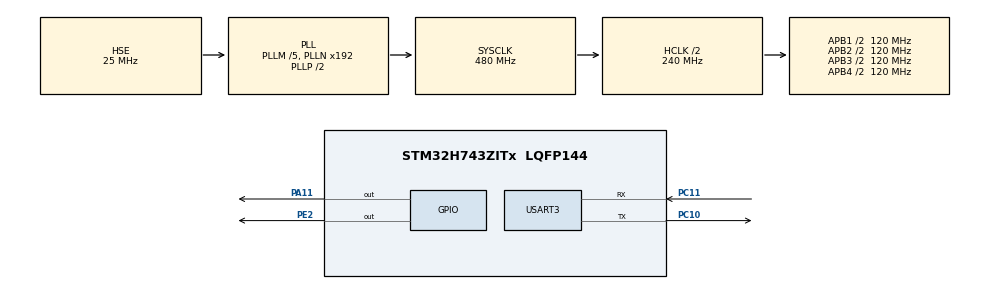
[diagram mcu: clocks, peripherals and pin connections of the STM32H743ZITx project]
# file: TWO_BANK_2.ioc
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CORTEX_M7.AccessPermission_S-Cortex_Memory_Protection_Unit_Region1_Settings_S=MPU_REGION_PRIV_RO
CORTEX_M7.AccessPermission_S-Cortex_Memory_Protection_Unit_Region2_Settings_S=MPU_REGION_FULL_ACCESS
CORTEX_M7.BaseAddress_S-Cortex_Memory_Protection_Unit_Region1_Settings_S=0x08000000
CORTEX_M7.BaseAddress_S-Cortex_Memory_Protection_Unit_Region2_Settings_S=0x30040000
CORTEX_M7.DisableExec_S-Cortex_Memory_Protection_Unit_Region2_Settings_S=MPU_INSTRUCTION_ACCESS_DISABLE
CORTEX_M7.Enable_S-Cortex_Memory_Protection_Unit_Region1_Settings_S=MPU_REGION_ENABLE
CORTEX_M7.Enable_S-Cortex_Memory_Protection_Unit_Region2_Settings_S=MPU_REGION_ENABLE
CORTEX_M7.IsCacheable_S-Cortex_Memory_Protection_Unit_Region1_Settings_S=MPU_ACCESS_CACHEABLE
CORTEX_M7.IsShareable_S-Cortex_Memory_Protection_Unit_Region2_Settings_S=MPU_ACCESS_SHAREABLE
CORTEX_M7.Number_S-Cortex_Memory_Protection_Unit_Region2_Settings_S=MPU_REGION_NUMBER2
CORTEX_M7.Size_S-Cortex_Memory_Protection_Unit_Region1_Settings_S=MPU_REGION_SIZE_2MB
CORTEX_M7.Size_S-Cortex_Memory_Protection_Unit_Region2_Settings_S=MPU_REGION_SIZE_32KB
CORTEX_M7.TypeExtField_S-Cortex_Memory_Protection_Unit_Region1_Settings_S=MPU_TEX_LEVEL1
CORTEX_M7.TypeExtField_S-Cortex_Memory_Protection_Unit_Region2_Settings_S=MPU_TEX_LEVEL1
CORTEX_M7.default_mode_Activation=1
Mcu.Family=STM32H7
Mcu.Name=STM32H743ZITx
Mcu.Package=LQFP144
NVIC.PriorityGroup=NVIC_PRIORITYGROUP_4
PA11.Signal=GPIO_Output
PA13\ (JTMS/SWDIO).Mode=Serial_Wire
PA13\ (JTMS/SWDIO).Signal=DEBUG_JTMS-SWDIO
PA14\ (JTCK/SWCLK).Mode=Serial_Wire
PA14\ (JTCK/SWCLK).Signal=DEBUG_JTCK-SWCLK
PC10.Mode=Asynchronous
PC10.Signal=USART3_TX
PC11.Mode=Asynchronous
PC11.Signal=USART3_RX
PE2.Signal=GPIO_Output
PH0-OSC_IN\ (PH0).Mode=HSE-External-Oscillator
PH0-OSC_IN\ (PH0).Signal=RCC_OSC_IN
PH1-OSC_OUT\ (PH1).Mode=HSE-External-Oscillator
PH1-OSC_OUT\ (PH1).Signal=RCC_OSC_OUT
ProjectManager.HeapSize=0x200
ProjectManager.StackSize=0x400
ProjectManager.TargetToolchain=MDK-ARM V5.32
RCC.ADCFreq_Value=50390625
RCC.APB1Freq_Value=120000000
RCC.APB2Freq_Value=120000000
RCC.APB3Freq_Value=120000000
RCC.APB4Freq_Value=120000000
RCC.CortexFreq_Value=480000000
RCC.D1PPRE=RCC_APB3_DIV2
RCC.D2PPRE1=RCC_APB1_DIV2
RCC.D2PPRE2=RCC_APB2_DIV2
RCC.D3PPRE=RCC_APB4_DIV2
RCC.DIVM1=5
RCC.DIVN1=192
RCC.HCLKFreq_Value=240000000
RCC.HPRE=RCC_HCLK_DIV2
RCC.PLLFRACN=0
RCC.PLLSourceVirtual=RCC_PLLSOURCE_HSE
RCC.SYSCLKFreq_VALUE=480000000
RCC.SYSCLKSource=RCC_SYSCLKSOURCE_PLLCLK
RCC.USBFreq_Value=480000000
USART3.VirtualMode-Asynchronous=VM_ASYNC
VP_MEMORYMAP_VS_MEMORYMAP.Mode=CurAppReg
board=custom

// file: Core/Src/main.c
/* USER CODE BEGIN Header */
/**
  ******************************************************************************
  * @file           : main.c
  * @brief          : Main program body
  ******************************************************************************
  * @attention
  *
  * Copyright (c) 2026 STMicroelectronics.
  * All rights reserved.
  *
  * This software is licensed under terms that can be found in the LICENSE file
  * in the root directory of this software component.
  * If no LICENSE file comes with this software, and is provided AS-IS.
  *
  ******************************************************************************
  */
/* USER CODE END Header */
#include "main.h"
#include "usart.h"
#include "gpio.h"

/* USER CODE BEGIN Includes */
#include <stddef.h>
#include <stdint.h>
#include <stdio.h>
#include <string.h>
/* USER CODE END Includes */

/* USER CODE BEGIN PTD */
/** OTA元数据结构体 */
typedef struct
{
  uint32_t magic;
  uint32_t struct_version;
  uint32_t sequence;
  uint32_t active_slot;
  uint32_t switch_slot;
  uint32_t upgrade_flag;
  uint32_t last_error;
  uint32_t app1_size;
  uint32_t app1_crc32;
  uint32_t app1_version;
  uint32_t app1_valid;
  uint32_t app2_size;
  uint32_t app2_crc32;
  uint32_t app2_version;
  uint32_t app2_valid;
  uint32_t reserved[8];
  uint32_t record_crc32;
} App_OtaMetadataTypeDef;

/** 应用控制协议帧头结构体 */
typedef struct
{
  uint32_t magic;
  uint16_t command;
  uint16_t length;
  uint32_t sequence;
  uint32_t payload_crc32;
} App_ControlFrameHeaderTypeDef;

/** 应用控制协议响应载荷结构体 */
typedef struct
{
  uint32_t status;
  uint32_t value0;
  uint32_t value1;
  uint32_t value2;
} App_ControlResponsePayloadTypeDef;

/** 进入OTA模式命令载荷结构体 */
typedef struct
{
  uint32_t target_slot;
  uint32_t image_size;
  uint32_t image_crc32;
  uint32_t image_version;
} App_ControlEnterOtaPayloadTypeDef;
/* USER CODE END PTD */

/* USER CODE BEGIN PD */
/** APP2镜像起始地址 */
#define APP_FLASH_BASE                       0x08100000U
/** APP2镜像大小 */
#define APP_FLASH_SIZE                       0x000E0000U
/** APP1镜像起始地址 */
#define APP_PEER_FLASH_BASE                  0x08020000U
/** APP1镜像大小 */
#define APP_PEER_FLASH_SIZE                  0x000E0000U
/** OTA元数据区起始地址 */
#define APP_METADATA_ADDRESS                 0x081E0000U
/** OTA元数据魔术字 */
#define APP_METADATA_MAGIC                   0x4F54414DU
/** OTA元数据版本号 */
#define APP_METADATA_VERSION                 0x00010000U
/** APP2槽位编号 */
#define APP_SLOT_THIS                        2U
/** APP1槽位编号 */
#define APP_SLOT_PEER                        1U
/** 空槽位编号 */
#define APP_SLOT_NONE                        0U
/** 升级标志空闲值 */
#define APP_UPGRADE_FLAG_IDLE                0U
/** 升级标志请求值 */
#define APP_UPGRADE_FLAG_REQUEST             1U
/** 元数据所在Bank */
#define APP_METADATA_BANK                    FLASH_BANK_2
/** 元数据所在Sector */
#define APP_METADATA_SECTOR                  FLASH_SECTOR_7
/** Flash写入最小单位 */
#define APP_FLASH_PROGRAM_UNIT               32U
/** 串口文本命令缓冲长度 */
#define APP_CMD_BUFFER_LENGTH                64U
/** 应用控制协议魔术字 */
#define APP_PROTOCOL_MAGIC                   0x3141544FU
/** 应用控制协议魔术字字节串 */
#define APP_PROTOCOL_MAGIC_BYTES             "OTA1"
/** 应用控制协议头长度 */
#define APP_PROTOCOL_HEADER_SIZE             16U
/** 应用控制协议最大载荷长度 */
#define APP_PROTOCOL_MAX_PAYLOAD             32U
/** 应用控制协议命令：HELLO */
#define APP_CTRL_CMD_HELLO                   0x0101U
/** 应用控制协议命令：QUERY */
#define APP_CTRL_CMD_QUERY                   0x0102U
/** 应用控制协议命令：ENTER_OTA */
#define APP_CTRL_CMD_ENTER_OTA               0x0103U
/** 应用控制协议命令：REBOOT */
#define APP_CTRL_CMD_REBOOT                  0x0104U
/** 应用控制协议响应掩码 */
#define APP_CTRL_RESPONSE_MASK               0x8000U
/** 应用控制协议状态：成功 */
#define APP_CTRL_STATUS_OK                   0x00000000U
/** 应用控制协议状态：CRC错误 */
#define APP_CTRL_STATUS_CRC_ERROR            0x00000003U
/** 应用控制协议状态：状态错误 */
#define APP_CTRL_STATUS_STATE_ERROR          0x00000004U
/** 应用控制协议状态：槽位错误 */
#define APP_CTRL_STATUS_SLOT_ERROR           0x00000005U
/** 应用控制协议状态：Flash错误 */
#define APP_CTRL_STATUS_FLASH_ERROR          0x00000007U
/** 应用控制协议状态：参数错误 */
#define APP_CTRL_STATUS_ARGUMENT_ERROR       0x00000009U
/** 设备模式编码：APP2 */
#define APP_DEVICE_MODE_THIS                 3U
/** 应用LED翻转周期 */
#define APP_LED_TOGGLE_PERIOD_MS             500U
/* USER CODE END PD */

/* USER CODE BEGIN PV */
/** 文本命令接收缓冲区 */
static char g_app_command_buffer[APP_CMD_BUFFER_LENGTH];
/** 文本命令当前长度 */
static uint32_t g_app_command_length = 0U;
/** LED上一次翻转时刻 */
static uint32_t g_app_led_tick = 0U;
/** 协议帧接收缓冲区 */
static uint8_t g_app_protocol_buffer[APP_PROTOCOL_HEADER_SIZE + APP_PROTOCOL_MAX_PAYLOAD];
/** 协议帧当前已接收长度 */
static uint32_t g_app_protocol_length = 0U;
/** 协议帧期望总长度 */
static uint32_t g_app_protocol_expected_length = 0U;
/* USER CODE END PV */

void SystemClock_Config(void);
static void MPU_Config(void);
/* USER CODE BEGIN PFP */
/** 输出一行应用日志 */
static void App_Log(const char *text);
/** 输出十六进制数值日志 */
static void App_LogHexValue(const char *label, uint32_t value);
/** 计算CRC32数值 */
static uint32_t App_CalculateCrc32(const uint8_t *buffer, uint32_t length);
/** 检查栈顶地址是否合法 */
static uint32_t App_IsValidStackPointer(uint32_t stack_pointer);
/** 检查镜像向量表是否合法 */
static uint32_t App_IsApplicationValid(uint32_t app_address, uint32_t app_size);
/** 从Flash读取元数据 */
static uint32_t App_LoadMetadata(App_OtaMetadataTypeDef *metadata);
/** 生成应用侧默认元数据视图 */
static void App_CreateDefaultMetadata(App_OtaMetadataTypeDef *metadata);
/** 擦除元数据扇区 */
static HAL_StatusTypeDef App_EraseMetadataSector(void);
/** 向Flash写入任意长度数据 */
static HAL_StatusTypeDef App_WriteFlashBuffer(uint32_t address, const uint8_t *buffer, uint32_t length);
/** 将元数据保存到Flash */
static HAL_StatusTypeDef App_SaveMetadata(App_OtaMetadataTypeDef *metadata);
/** 获取当前设备模式编码 */
static uint32_t App_GetDeviceMode(void);
/** 打包当前设备状态 */
static void App_PackDeviceState(uint32_t *value0, uint32_t *value1, uint32_t *value2);
/** 发送协议响应帧 */
static void App_SendControlResponse(uint16_t command, uint32_t status, uint32_t value0, uint32_t value1, uint32_t value2);
/** 重置协议接收状态机 */
static void App_ResetProtocolParser(void);
/** 处理协议帧 */
static void App_HandleProtocolFrame(const uint8_t *frame, uint32_t frame_length);
/** 按字节处理文本命令 */
static void App_ProcessTextByte(uint8_t rx_byte);
/** 按字节处理串口输入 */
static void App_ProcessRxByte(uint8_t rx_byte);
/** 轮询串口输入数据 */
static void App_PollSerialInput(void);
/** 处理文本命令 */
static void App_ProcessSerialCommand(const char *command);
/** 写入升级请求标志 */
static HAL_StatusTypeDef App_RequestOtaFlag(uint32_t target_slot);
/** 打印当前应用信息 */
static void App_PrintInfo(void);
/* USER CODE END PFP */

/* USER CODE BEGIN 0 */
/** 输出一行应用日志 */
static void App_Log(const char *text)
{
  size_t length = strlen(text);

  (void)HAL_UART_Transmit(&huart3, (uint8_t *)text, (uint16_t)length, HAL_MAX_DELAY);
}

/** 输出十六进制数值日志 */
static void App_LogHexValue(const char *label, uint32_t value)
{
  char text[96];

  (void)snprintf(text, sizeof(text), "%s0x%08lX\r\n", label, (unsigned long)value);
  App_Log(text);
}

/** 计算CRC32数值 */
static uint32_t App_CalculateCrc32(const uint8_t *buffer, uint32_t length)
{
  uint32_t crc = 0xFFFFFFFFU;
  uint32_t index;
  uint32_t bit_index;

  if (buffer == NULL)
  {
    return 0U;
  }

  for (index = 0U; index < length; index++)
  {
    crc ^= buffer[index];
    for (bit_index = 0U; bit_index < 8U; bit_index++)
    {
      if ((crc & 1U) != 0U)
      {
        crc = (crc >> 1U) ^ 0xEDB88320U;
      }
      else
      {
        crc >>= 1U;
      }
    }
  }

  return ~crc;
}

/** 检查栈顶地址是否合法 */
static uint32_t App_IsValidStackPointer(uint32_t stack_pointer)
{
  if ((stack_pointer >= 0x20000000U) && (stack_pointer < 0x20020000U))
  {
    return 1U;
  }

  if ((stack_pointer >= 0x24000000U) && (stack_pointer < 0x24080000U))
  {
    return 1U;
  }

  if ((stack_pointer >= 0x30000000U) && (stack_pointer < 0x30048000U))
  {
    return 1U;
  }

  if ((stack_pointer >= 0x38000000U) && (stack_pointer < 0x38010000U))
  {
    return 1U;
  }

  return 0U;
}

/** 检查镜像向量表是否合法 */
static uint32_t App_IsApplicationValid(uint32_t app_address, uint32_t app_size)
{
  uint32_t stack_pointer = *((volatile uint32_t *)app_address);
  uint32_t reset_handler = *((volatile uint32_t *)(app_address + 4U));
  uint32_t reset_handler_address = reset_handler & ~1U;

  if (App_IsValidStackPointer(stack_pointer) == 0U)
  {
    return 0U;
  }

  if ((reset_handler & 1U) == 0U)
  {
    return 0U;
  }

  if ((reset_handler_address < app_address) || (reset_handler_address >= (app_address + app_size)))
  {
    return 0U;
  }

  return 1U;
}

/** 从Flash读取元数据 */
static uint32_t App_LoadMetadata(App_OtaMetadataTypeDef *metadata)
{
  const App_OtaMetadataTypeDef *flash_metadata = (const App_OtaMetadataTypeDef *)APP_METADATA_ADDRESS;
  uint32_t crc32;

  if (metadata == NULL)
  {
    return 0U;
  }

  memcpy(metadata, flash_metadata, sizeof(App_OtaMetadataTypeDef));
  if (metadata->magic != APP_METADATA_MAGIC)
  {
    return 0U;
  }

  if (metadata->struct_version != APP_METADATA_VERSION)
  {
    return 0U;
  }

  crc32 = App_CalculateCrc32((const uint8_t *)metadata, offsetof(App_OtaMetadataTypeDef, record_crc32));
  if (metadata->record_crc32 != crc32)
  {
    return 0U;
  }

  return 1U;
}

/** 生成应用侧默认元数据视图 */
static void App_CreateDefaultMetadata(App_OtaMetadataTypeDef *metadata)
{
  if (metadata == NULL)
  {
    return;
  }

  memset(metadata, 0, sizeof(App_OtaMetadataTypeDef));
  metadata->magic = APP_METADATA_MAGIC;
  metadata->struct_version = APP_METADATA_VERSION;
  metadata->sequence = 1U;
  metadata->active_slot = APP_SLOT_THIS;
  metadata->switch_slot = APP_SLOT_NONE;
  metadata->upgrade_flag = APP_UPGRADE_FLAG_IDLE;
  metadata->last_error = 0U;
  metadata->app1_valid = App_IsApplicationValid(APP_PEER_FLASH_BASE, APP_PEER_FLASH_SIZE);
  metadata->app2_valid = App_IsApplicationValid(APP_FLASH_BASE, APP_FLASH_SIZE);
  metadata->record_crc32 = App_CalculateCrc32((const uint8_t *)metadata, offsetof(App_OtaMetadataTypeDef, record_crc32));
}

/** 擦除元数据扇区 */
static HAL_StatusTypeDef App_EraseMetadataSector(void)
{
  FLASH_EraseInitTypeDef erase_init = {0};
  uint32_t sector_error = 0U;
  HAL_StatusTypeDef status;

  erase_init.TypeErase = FLASH_TYPEERASE_SECTORS;
  erase_init.Banks = APP_METADATA_BANK;
  erase_init.Sector = APP_METADATA_SECTOR;
  erase_init.NbSectors = 1U;
  erase_init.VoltageRange = FLASH_VOLTAGE_RANGE_3;

  HAL_FLASH_Unlock();
  __HAL_FLASH_CLEAR_FLAG(FLASH_FLAG_ALL_ERRORS_BANK1);
  __HAL_FLASH_CLEAR_FLAG(FLASH_FLAG_ALL_ERRORS_BANK2);
  status = HAL_FLASHEx_Erase(&erase_init, &sector_error);
  HAL_FLASH_Lock();

  App_LogHexValue("[APP2] erase metadata status=", (uint32_t)status);
  App_LogHexValue("[APP2] erase metadata sector_error=", sector_error);
  return status;
}

/** 向Flash写入任意长度数据 */
static HAL_StatusTypeDef App_WriteFlashBuffer(uint32_t address, const uint8_t *buffer, uint32_t length)
{
  HAL_StatusTypeDef status = HAL_OK;
  uint32_t current_address = address;
  uint32_t remain_length = length;
  uint32_t copy_length;
  __ALIGNED(32) static uint8_t flash_word[APP_FLASH_PROGRAM_UNIT];

  if ((buffer == NULL) || (length == 0U))
  {
    return HAL_ERROR;
  }

  HAL_FLASH_Unlock();
  __HAL_FLASH_CLEAR_FLAG(FLASH_FLAG_ALL_ERRORS_BANK1);
  __HAL_FLASH_CLEAR_FLAG(FLASH_FLAG_ALL_ERRORS_BANK2);

  while (remain_length > 0U)
  {
    memset(flash_word, 0xFF, sizeof(flash_word));
    copy_length = (remain_length > APP_FLASH_PROGRAM_UNIT) ? APP_FLASH_PROGRAM_UNIT : remain_length;
    memcpy(flash_word, buffer, copy_length);
    status = HAL_FLASH_Program(FLASH_TYPEPROGRAM_FLASHWORD, current_address, (uint32_t)flash_word);
    if (status != HAL_OK)
    {
      break;
    }

    current_address += APP_FLASH_PROGRAM_UNIT;
    buffer += copy_length;
    remain_length -= copy_length;
  }

  HAL_FLASH_Lock();
  App_LogHexValue("[APP2] write metadata status=", (uint32_t)status);
  return status;
}

/** 将元数据保存到Flash */
static HAL_StatusTypeDef App_SaveMetadata(App_OtaMetadataTypeDef *metadata)
{
  HAL_StatusTypeDef status;

  if (metadata == NULL)
  {
    return HAL_ERROR;
  }

  metadata->magic = APP_METADATA_MAGIC;
  metadata->struct_version = APP_METADATA_VERSION;
  metadata->sequence += 1U;
  metadata->record_crc32 = App_CalculateCrc32((const uint8_t *)metadata, offsetof(App_OtaMetadataTypeDef, record_crc32));

  status = App_EraseMetadataSector();
  if (status != HAL_OK)
  {
    return status;
  }

  return App_WriteFlashBuffer(APP_METADATA_ADDRESS, (const uint8_t *)metadata, sizeof(App_OtaMetadataTypeDef));
}

/** 获取当前设备模式编码 */
static uint32_t App_GetDeviceMode(void)
{
  return APP_DEVICE_MODE_THIS;
}

/** 打包当前设备状态 */
static void App_PackDeviceState(uint32_t *value0, uint32_t *value1, uint32_t *value2)
{
  App_OtaMetadataTypeDef metadata = {0};
  uint32_t state_word;
  uint32_t valid_word;

  if (App_LoadMetadata(&metadata) == 0U)
  {
    App_CreateDefaultMetadata(&metadata);
  }

  if (value0 != NULL)
  {
    *value0 = App_GetDeviceMode();
  }

  state_word = (metadata.active_slot & 0xFFU) |
               ((metadata.switch_slot & 0xFFU) << 8U) |
               ((metadata.upgrade_flag & 0xFFFFU) << 16U);
  valid_word = (metadata.app1_valid & 0xFFFFU) |
               ((metadata.app2_valid & 0xFFFFU) << 16U);

  if (value1 != NULL)
  {
    *value1 = state_word;
  }

  if (value2 != NULL)
  {
    *value2 = valid_word;
  }
}

/** 发送协议响应帧 */
static void App_SendControlResponse(uint16_t command, uint32_t status, uint32_t value0, uint32_t value1, uint32_t value2)
{
  App_ControlFrameHeaderTypeDef header = {0};
  App_ControlResponsePayloadTypeDef payload = {0};

  payload.status = status;
  payload.value0 = value0;
  payload.value1 = value1;
  payload.value2 = value2;

  header.magic = APP_PROTOCOL_MAGIC;
  header.command = (uint16_t)(command | APP_CTRL_RESPONSE_MASK);
  header.length = (uint16_t)sizeof(payload);
  header.sequence = 0U;
  header.payload_crc32 = App_CalculateCrc32((const uint8_t *)&payload, sizeof(payload));

  (void)HAL_UART_Transmit(&huart3, (uint8_t *)&header, (uint16_t)sizeof(header), HAL_MAX_DELAY);
  (void)HAL_UART_Transmit(&huart3, (uint8_t *)&payload, (uint16_t)sizeof(payload), HAL_MAX_DELAY);
}

/** 重置协议接收状态机 */
static void App_ResetProtocolParser(void)
{
  g_app_protocol_length = 0U;
  g_app_protocol_expected_length = 0U;
  memset(g_app_protocol_buffer, 0, sizeof(g_app_protocol_buffer));
}

/** 写入升级请求标志 */
static HAL_StatusTypeDef App_RequestOtaFlag(uint32_t target_slot)
{
  App_OtaMetadataTypeDef metadata = {0};

  if ((target_slot != APP_SLOT_THIS) && (target_slot != APP_SLOT_PEER))
  {
    return HAL_ERROR;
  }

  if (App_LoadMetadata(&metadata) == 0U)
  {
    App_CreateDefaultMetadata(&metadata);
  }

  metadata.active_slot = APP_SLOT_THIS;
  metadata.switch_slot = APP_SLOT_NONE;
  metadata.upgrade_flag = APP_UPGRADE_FLAG_REQUEST;
  metadata.app1_valid = App_IsApplicationValid(APP_PEER_FLASH_BASE, APP_PEER_FLASH_SIZE);
  metadata.app2_valid = App_IsApplicationValid(APP_FLASH_BASE, APP_FLASH_SIZE);

  App_Log("[APP2] ota request saved\r\n");
  return App_SaveMetadata(&metadata);
}

/** 打印当前应用信息 */
static void App_PrintInfo(void)
{
  uint32_t value0 = 0U;
  uint32_t value1 = 0U;
  uint32_t value2 = 0U;

  App_PackDeviceState(&value0, &value1, &value2);
  App_Log("[APP2] app2 running\r\n");
  App_LogHexValue("[APP2] base=", APP_FLASH_BASE);
  App_LogHexValue("[APP2] metadata=", APP_METADATA_ADDRESS);
  App_LogHexValue("[APP2] mode=", value0);
  App_LogHexValue("[APP2] state=", value1);
  App_LogHexValue("[APP2] valid=", value2);
}

/** 处理协议帧 */
static void App_HandleProtocolFrame(const uint8_t *frame, uint32_t frame_length)
{
  App_ControlFrameHeaderTypeDef header = {0};
  uint32_t value0 = 0U;
  uint32_t value1 = 0U;
  uint32_t value2 = 0U;

  if ((frame == NULL) || (frame_length < APP_PROTOCOL_HEADER_SIZE))
  {
    return;
  }

  memcpy(&header, frame, sizeof(header));
  if (header.magic != APP_PROTOCOL_MAGIC)
  {
    return;
  }

  if (frame_length != (APP_PROTOCOL_HEADER_SIZE + header.length))
  {
    App_SendControlResponse(header.command, APP_CTRL_STATUS_ARGUMENT_ERROR, 0U, 0U, 0U);
    return;
  }

  if ((header.length > 0U) &&
      (header.payload_crc32 != App_CalculateCrc32(frame + APP_PROTOCOL_HEADER_SIZE, header.length)))
  {
    App_SendControlResponse(header.command, APP_CTRL_STATUS_CRC_ERROR, 0U, 0U, 0U);
    return;
  }

  switch (header.command)
  {
    case APP_CTRL_CMD_HELLO:
    case APP_CTRL_CMD_QUERY:
      if (header.length != 0U)
      {
        App_SendControlResponse(header.command, APP_CTRL_STATUS_ARGUMENT_ERROR, 0U, 0U, 0U);
        return;
      }

      App_PackDeviceState(&value0, &value1, &value2);
      App_SendControlResponse(header.command, APP_CTRL_STATUS_OK, value0, value1, value2);
      return;

    case APP_CTRL_CMD_ENTER_OTA:
    {
      App_ControlEnterOtaPayloadTypeDef enter_ota = {0};

      if (header.length != sizeof(App_ControlEnterOtaPayloadTypeDef))
      {
        App_SendControlResponse(header.command, APP_CTRL_STATUS_ARGUMENT_ERROR, 0U, 0U, 0U);
        return;
      }

      memcpy(&enter_ota, frame + APP_PROTOCOL_HEADER_SIZE, sizeof(enter_ota));
      if ((enter_ota.target_slot != APP_SLOT_THIS) && (enter_ota.target_slot != APP_SLOT_PEER))
      {
        App_SendControlResponse(header.command, APP_CTRL_STATUS_SLOT_ERROR, enter_ota.target_slot, 0U, 0U);
        return;
      }

      if (enter_ota.target_slot == APP_SLOT_THIS)
      {
        App_SendControlResponse(header.command, APP_CTRL_STATUS_SLOT_ERROR, enter_ota.target_slot, APP_SLOT_THIS, 0U);
        return;
      }

      if (App_RequestOtaFlag(enter_ota.target_slot) != HAL_OK)
      {
        App_SendControlResponse(header.command, APP_CTRL_STATUS_FLASH_ERROR, enter_ota.target_slot, 0U, 0U);
        return;
      }

      App_Log("[APP2] enter ota by script\r\n");
      App_SendControlResponse(header.command, APP_CTRL_STATUS_OK, enter_ota.target_slot, APP_SLOT_THIS, enter_ota.image_version);
      HAL_Delay(50);
      NVIC_SystemReset();
      return;
    }

    case APP_CTRL_CMD_REBOOT:
      if (header.length != 0U)
      {
        App_SendControlResponse(header.command, APP_CTRL_STATUS_ARGUMENT_ERROR, 0U, 0U, 0U);
        return;
      }

      App_Log("[APP2] reboot by script\r\n");
      App_SendControlResponse(header.command, APP_CTRL_STATUS_OK, APP_SLOT_THIS, 0U, 0U);
      HAL_Delay(50);
      NVIC_SystemReset();
      return;

    default:
      App_SendControlResponse(header.command, APP_CTRL_STATUS_ARGUMENT_ERROR, header.command, 0U, 0U);
      return;
  }
}

/** 按字节处理文本命令 */
static void App_ProcessTextByte(uint8_t rx_byte)
{
  if ((rx_byte == '\r') || (rx_byte == '\n'))
  {
    if (g_app_command_length > 0U)
    {
      g_app_command_buffer[g_app_command_length] = '\0';
      App_ProcessSerialCommand(g_app_command_buffer);
      g_app_command_length = 0U;
    }
    return;
  }

  if (g_app_command_length < (APP_CMD_BUFFER_LENGTH - 1U))
  {
    g_app_command_buffer[g_app_command_length] = (char)rx_byte;
    g_app_command_length++;
  }
  else
  {
    g_app_command_length = 0U;
    App_Log("[APP2] command too long\r\n");
  }
}

/** 按字节处理串口输入 */
static void App_ProcessRxByte(uint8_t rx_byte)
{
  static const uint8_t magic_bytes[4] = {'O', 'T', 'A', '1'};
  uint32_t index;
  App_ControlFrameHeaderTypeDef header = {0};

  if (g_app_protocol_length == 0U)
  {
    if (rx_byte == magic_bytes[0])
    {
      g_app_protocol_buffer[0] = rx_byte;
      g_app_protocol_length = 1U;
      g_app_protocol_expected_length = APP_PROTOCOL_HEADER_SIZE;
      return;
    }

    App_ProcessTextByte(rx_byte);
    return;
  }

  if (g_app_protocol_length < sizeof(g_app_protocol_buffer))
  {
    g_app_protocol_buffer[g_app_protocol_length] = rx_byte;
    g_app_protocol_length++;
  }
  else
  {
    App_ResetProtocolParser();
    App_Log("[APP2] protocol buffer overflow\r\n");
    return;
  }

  if (g_app_protocol_length <= 4U)
  {
    if (g_app_protocol_buffer[g_app_protocol_length - 1U] != magic_bytes[g_app_protocol_length - 1U])
    {
      for (index = 0U; index < g_app_protocol_length; index++)
      {
        App_ProcessTextByte(g_app_protocol_buffer[index]);
      }
      App_ResetProtocolParser();
    }
    return;
  }

  if (g_app_protocol_length == APP_PROTOCOL_HEADER_SIZE)
  {
    memcpy(&header, g_app_protocol_buffer, sizeof(header));
    if ((header.magic != APP_PROTOCOL_MAGIC) || (header.length > APP_PROTOCOL_MAX_PAYLOAD))
    {
      App_ResetProtocolParser();
      App_Log("[APP2] invalid protocol header\r\n");
      return;
    }

    g_app_protocol_expected_length = APP_PROTOCOL_HEADER_SIZE + header.length;
  }

  if ((g_app_protocol_expected_length != 0U) && (g_app_protocol_length >= g_app_protocol_expected_length))
  {
    App_HandleProtocolFrame(g_app_protocol_buffer, g_app_protocol_expected_length);
    App_ResetProtocolParser();
  }
}

/** 轮询串口输入数据 */
static void App_PollSerialInput(void)
{
  uint8_t rx_byte;

  while (HAL_UART_Receive(&huart3, &rx_byte, 1U, 0U) == HAL_OK)
  {
    App_ProcessRxByte(rx_byte);
  }
}

/** 处理文本命令 */
static void App_ProcessSerialCommand(const char *command)
{
  if (command == NULL)
  {
    return;
  }

  if ((strcmp(command, "ping") == 0) || (strcmp(command, "hello") == 0))
  {
    App_Log("[APP2] pong\r\n");
    return;
  }

  if ((strcmp(command, "info") == 0) || (strcmp(command, "query") == 0))
  {
    App_PrintInfo();
    return;
  }

  if ((strcmp(command, "ota") == 0) || (strcmp(command, "upgrade") == 0))
  {
    if (App_RequestOtaFlag(APP_SLOT_PEER) != HAL_OK)
    {
      App_Log("[APP2] ota request save failed\r\n");
      return;
    }

    App_Log("[APP2] ota request accepted, reset now\r\n");
    HAL_Delay(50);
    NVIC_SystemReset();
    return;
  }

  if (strcmp(command, "reboot") == 0)
  {
    App_Log("[APP2] reboot now\r\n");
    HAL_Delay(50);
    NVIC_SystemReset();
    return;
  }

  App_Log("[APP2] unknown command\r\n");
}
/* USER CODE END 0 */

int main(void)
{

  /* MPU Configuration--------------------------------------------------------*/
  MPU_Config();

  /* MCU Configuration--------------------------------------------------------*/

  /* Reset of all peripherals, Initializes the Flash interface and the Systick. */
  HAL_Init();

  /* Configure the system clock */
  SystemClock_Config();

  /* Initialize all configured peripherals */
  MX_GPIO_Init();
  MX_USART3_UART_Init();
  /* USER CODE BEGIN 2 */
  SCB->VTOR = APP_FLASH_BASE;
  __DSB();
  __ISB();

  HAL_GPIO_WritePin(GPIOE, GPIO_PIN_2, GPIO_PIN_RESET);
  HAL_GPIO_WritePin(GPIOA, GPIO_PIN_11, GPIO_PIN_SET);
  g_app_led_tick = HAL_GetTick();
  App_ResetProtocolParser();
  App_Log("\r\n[APP2] started from 0x08100000\r\n");
  App_Log("[APP2] control protocol ready\r\n");
  App_Log("[APP2] text command: ping | info | ota | reboot\r\n");
  /* USER CODE END 2 */

  /* Infinite loop */
  while (1)
  {

    /* USER CODE BEGIN 3 */
    App_PollSerialInput();
    if ((HAL_GetTick() - g_app_led_tick) >= APP_LED_TOGGLE_PERIOD_MS)
    {
      g_app_led_tick = HAL_GetTick();
      HAL_GPIO_TogglePin(GPIOA, GPIO_PIN_11);
    }
  }
  /* USER CODE END 3 */
}

void SystemClock_Config(void)
{
  RCC_OscInitTypeDef RCC_OscInitStruct = {0};
  RCC_ClkInitTypeDef RCC_ClkInitStruct = {0};

  /** Supply configuration update enable
  */
  HAL_PWREx_ConfigSupply(PWR_LDO_SUPPLY);

  /** Configure the main internal regulator output voltage
  */
  __HAL_PWR_VOLTAGESCALING_CONFIG(PWR_REGULATOR_VOLTAGE_SCALE0);

  while(!__HAL_PWR_GET_FLAG(PWR_FLAG_VOSRDY)) {}

  /** Initializes the RCC Oscillators according to the specified parameters
  * in the RCC_OscInitTypeDef structure.
  */
  RCC_OscInitStruct.OscillatorType = RCC_OSCILLATORTYPE_HSE;
  RCC_OscInitStruct.HSEState = RCC_HSE_ON;
  RCC_OscInitStruct.PLL.PLLState = RCC_PLL_ON;
  RCC_OscInitStruct.PLL.PLLSource = RCC_PLLSOURCE_HSE;
  RCC_OscInitStruct.PLL.PLLM = 5;
  RCC_OscInitStruct.PLL.PLLN = 192;
  RCC_OscInitStruct.PLL.PLLP = 2;
  RCC_OscInitStruct.PLL.PLLQ = 2;
  RCC_OscInitStruct.PLL.PLLR = 2;
  RCC_OscInitStruct.PLL.PLLRGE = RCC_PLL1VCIRANGE_2;
  RCC_OscInitStruct.PLL.PLLVCOSEL = RCC_PLL1VCOWIDE;
  RCC_OscInitStruct.PLL.PLLFRACN = 0;
  if (HAL_RCC_OscConfig(&RCC_OscInitStruct) != HAL_OK)
  {
    Error_Handler();
  }

  /** Initializes the CPU, AHB and APB buses clocks
  */
  RCC_ClkInitStruct.ClockType = RCC_CLOCKTYPE_HCLK|RCC_CLOCKTYPE_SYSCLK
                              |RCC_CLOCKTYPE_PCLK1|RCC_CLOCKTYPE_PCLK2
                              |RCC_CLOCKTYPE_D3PCLK1|RCC_CLOCKTYPE_D1PCLK1;
  RCC_ClkInitStruct.SYSCLKSource = RCC_SYSCLKSOURCE_PLLCLK;
  RCC_ClkInitStruct.SYSCLKDivider = RCC_SYSCLK_DIV1;
  RCC_ClkInitStruct.AHBCLKDivider = RCC_HCLK_DIV2;
  RCC_ClkInitStruct.APB3CLKDivider = RCC_APB3_DIV2;
  RCC_ClkInitStruct.APB1CLKDivider = RCC_APB1_DIV2;
  RCC_ClkInitStruct.APB2CLKDivider = RCC_APB2_DIV2;
  RCC_ClkInitStruct.APB4CLKDivider = RCC_APB4_DIV2;

  if (HAL_RCC_ClockConfig(&RCC_ClkInitStruct, FLASH_LATENCY_4) != HAL_OK)
  {
    Error_Handler();
  }
}

 /* MPU Configuration */

static void MPU_Config(void)
{
  MPU_Region_InitTypeDef MPU_InitStruct = {0};

  /* Disables the MPU */
  HAL_MPU_Disable();

  /** Initializes and configures the Region and the memory to be protected
  */
  MPU_InitStruct.Enable = MPU_REGION_ENABLE;
  MPU_InitStruct.Number = MPU_REGION_NUMBER0;
  MPU_InitStruct.BaseAddress = 0x0;
  MPU_InitStruct.Size = MPU_REGION_SIZE_4GB;
  MPU_InitStruct.SubRegionDisable = 0x87;
  MPU_InitStruct.TypeExtField = MPU_TEX_LEVEL0;
  MPU_InitStruct.AccessPermission = MPU_REGION_NO_ACCESS;
  MPU_InitStruct.DisableExec = MPU_INSTRUCTION_ACCESS_DISABLE;
  MPU_InitStruct.IsShareable = MPU_ACCESS_SHAREABLE;
  MPU_InitStruct.IsCacheable = MPU_ACCESS_NOT_CACHEABLE;
  MPU_InitStruct.IsBufferable = MPU_ACCESS_NOT_BUFFERABLE;

  HAL_MPU_ConfigRegion(&MPU_InitStruct);

  /** Initializes and configures the Region and the memory to be protected
  */
  MPU_InitStruct.Number = MPU_REGION_NUMBER1;
  MPU_InitStruct.BaseAddress = 0x08000000;
  MPU_InitStruct.Size = MPU_REGION_SIZE_2MB;
  MPU_InitStruct.SubRegionDisable = 0x0;
  MPU_InitStruct.TypeExtField = MPU_TEX_LEVEL1;
  MPU_InitStruct.AccessPermission = MPU_REGION_FULL_ACCESS;
  MPU_InitStruct.DisableExec = MPU_INSTRUCTION_ACCESS_ENABLE;
  MPU_InitStruct.IsShareable = MPU_ACCESS_NOT_SHAREABLE;
  MPU_InitStruct.IsCacheable = MPU_ACCESS_CACHEABLE;

  HAL_MPU_ConfigRegion(&MPU_InitStruct);

  /** Initializes and configures the Region and the memory to be protected
  */
  MPU_InitStruct.Number = MPU_REGION_NUMBER2;
  MPU_InitStruct.BaseAddress = 0x30040000;
  MPU_InitStruct.Size = MPU_REGION_SIZE_32KB;
  MPU_InitStruct.AccessPermission = MPU_REGION_FULL_ACCESS;
  MPU_InitStruct.DisableExec = MPU_INSTRUCTION_ACCESS_DISABLE;
  MPU_InitStruct.IsShareable = MPU_ACCESS_SHAREABLE;
  MPU_InitStruct.IsCacheable = MPU_ACCESS_NOT_CACHEABLE;

  HAL_MPU_ConfigRegion(&MPU_InitStruct);
  /* Enables the MPU */
  HAL_MPU_Enable(MPU_PRIVILEGED_DEFAULT);

}

void Error_Handler(void)
{
  __disable_irq();
  while (1)
  {
  }
}
